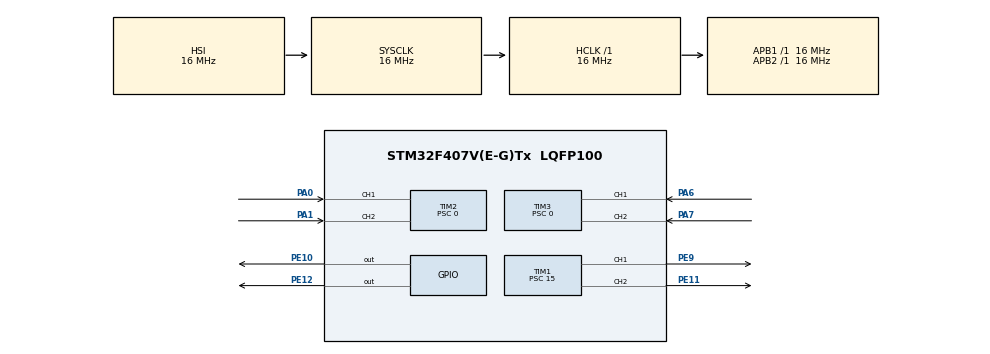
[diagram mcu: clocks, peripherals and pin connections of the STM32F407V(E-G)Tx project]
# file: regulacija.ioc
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Mcu.Family=STM32F4
Mcu.Name=STM32F407V(E-G)Tx
Mcu.Package=LQFP100
NVIC.PriorityGroup=NVIC_PRIORITYGROUP_4
NVIC.TIM4_IRQn=true\:0\:0\:false\:false\:true\:true
PA0-WKUP.GPIO_PuPd=GPIO_PULLUP
PA0-WKUP.Signal=S_TIM2_CH1_ETR
PA1.GPIO_PuPd=GPIO_PULLUP
PA1.Signal=S_TIM2_CH2
PA6.GPIO_PuPd=GPIO_PULLUP
PA6.Signal=S_TIM3_CH1
PA7.GPIO_PuPd=GPIO_PULLUP
PA7.Signal=S_TIM3_CH2
PE10.Signal=GPIO_Output
PE11.GPIO_PuPd=GPIO_NOPULL
PE11.Signal=S_TIM1_CH2
PE12.Signal=GPIO_Output
PE9.GPIO_PuPd=GPIO_NOPULL
PE9.Signal=S_TIM1_CH1
ProjectManager.HeapSize=0x200
ProjectManager.StackSize=0x400
ProjectManager.TargetToolchain=MDK-ARM V5
RCC.AHBFreq_Value=16000000
RCC.APB1Freq_Value=16000000
RCC.APB2Freq_Value=16000000
RCC.CortexFreq_Value=16000000
RCC.HSE_VALUE=25000000
RCC.HSI_VALUE=16000000
RCC.LSE_VALUE=32768
RCC.SYSCLKFreq_VALUE=16000000
RCC.VCOOutputFreq_Value=192000000
SH.S_TIM1_CH1.0=TIM1_CH1,PWM Generation1 CH1
SH.S_TIM1_CH2.0=TIM1_CH2,PWM Generation2 CH2
SH.S_TIM2_CH1_ETR.0=TIM2_CH1,Encoder_Interface
SH.S_TIM2_CH2.0=TIM2_CH2,Encoder_Interface
SH.S_TIM3_CH1.0=TIM3_CH1,Encoder_Interface
SH.S_TIM3_CH2.0=TIM3_CH2,Encoder_Interface
TIM1.Channel-PWM\ Generation1\ CH1=TIM_CHANNEL_1
TIM1.Channel-PWM\ Generation2\ CH2=TIM_CHANNEL_2
TIM1.Period=100
TIM1.Prescaler=15
TIM2.EncoderMode=TIM_ENCODERMODE_TI12
TIM2.IC1Filter=15
TIM2.IC2Filter=15
TIM2.Period=2400
TIM2.Prescaler=0
TIM3.EncoderMode=TIM_ENCODERMODE_TI12
TIM3.IC1Filter=15
TIM3.IC2Filter=15
TIM3.Period=2400
TIM3.Prescaler=0
TIM4.Period=1000
TIM4.Prescaler=15
TIM4.TIM_MasterOutputTrigger=TIM_TRGO_UPDATE
VP_TIM1_VS_ClockSourceINT.Mode=Internal
VP_TIM4_VS_ClockSourceINT.Mode=Internal
board=regulacija

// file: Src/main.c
/**
  ******************************************************************************
  * File Name          : main.c
  * Description        : Main program body
  ******************************************************************************
  ** This notice applies to any and all portions of this file
  * that are not between comment pairs USER CODE BEGIN and
  * USER CODE END. Other portions of this file, whether
  * inserted by the user or by software development tools
  * are owned by their respective copyright owners.
  *
  * COPYRIGHT(c) 2018 STMicroelectronics
  *
  * Redistribution and use in source and binary forms, with or without modification,
  * are permitted provided that the following conditions are met:
  *   1. Redistributions of source code must retain the above copyright notice,
  *      this list of conditions and the following disclaimer.
  *   2. Redistributions in binary form must reproduce the above copyright notice,
  *      this list of conditions and the following disclaimer in the documentation
  *      and/or other materials provided with the distribution.
  *   3. Neither the name of STMicroelectronics nor the names of its contributors
  *      may be used to endorse or promote products derived from this software
  *      without specific prior written permission.
  *
  * THIS SOFTWARE IS PROVIDED BY THE COPYRIGHT HOLDERS AND CONTRIBUTORS "AS IS"
  * AND ANY EXPRESS OR IMPLIED WARRANTIES, INCLUDING, BUT NOT LIMITED TO, THE
  * IMPLIED WARRANTIES OF MERCHANTABILITY AND FITNESS FOR A PARTICULAR PURPOSE ARE
  * DISCLAIMED. IN NO EVENT SHALL THE COPYRIGHT HOLDER OR CONTRIBUTORS BE LIABLE
  * FOR ANY DIRECT, INDIRECT, INCIDENTAL, SPECIAL, EXEMPLARY, OR CONSEQUENTIAL
  * DAMAGES (INCLUDING, BUT NOT LIMITED TO, PROCUREMENT OF SUBSTITUTE GOODS OR
  * SERVICES; LOSS OF USE, DATA, OR PROFITS; OR BUSINESS INTERRUPTION) HOWEVER
  * CAUSED AND ON ANY THEORY OF LIABILITY, WHETHER IN CONTRACT, STRICT LIABILITY,
  * OR TORT (INCLUDING NEGLIGENCE OR OTHERWISE) ARISING IN ANY WAY OUT OF THE USE
  * OF THIS SOFTWARE, EVEN IF ADVISED OF THE POSSIBILITY OF SUCH DAMAGE.
  *
  ******************************************************************************
  */
#include "main.h"
#include "stm32f4xx_hal.h"
#include <stdlib.h>
#include "regulator.h"
#include "parametri.h"

TIM_HandleTypeDef htim1;
TIM_HandleTypeDef htim2;
TIM_HandleTypeDef htim3;
TIM_HandleTypeDef htim4;

/* USER CODE BEGIN PV */
/* Private variables ---------------------------------------------------------*/

/* USER CODE END PV */

void SystemClock_Config(void);
static void MX_GPIO_Init(void);
static void MX_TIM1_Init(void);
static void MX_TIM2_Init(void);
static void MX_TIM3_Init(void);
static void MX_TIM4_Init(void);
void HAL_TIM_MspPostInit(TIM_HandleTypeDef *htim);

/* USER CODE BEGIN PFP */
/* Private function prototypes -----------------------------------------------*/

/* USER CODE END PFP */

/* USER CODE BEGIN 0 */
int dutyCycle1, dutyCycle2;
double deg1, deg2, ref1, ref2, err1, err2, pitch_int, yaw_int, anti_windup_pitch, anti_windup_yaw;
double	u_int1, u_int2, u_p1, u_p2, u_pff, u_pitch, u_yaw;
//(k), (k-1), (k-2)
double speed_pitch[3] = {0.0, 0.0, 0.0};
double speed_yaw[3] = {0.0, 0.0, 0.0};
//(k-1), (k-2)
double pitch[2] = {0.0, 0.0};
double yaw[2] = {0.0, 0.0};
double test[3] = {1.0, 2.0, 3.0};
/* USER CODE END 0 */

int main(void)
{

  /* USER CODE BEGIN 1 */
	/* PWM inicijalizacija */
	ref1 = 0.0;
	ref2 = 0.0;

	pitch_int = 0.0;
	yaw_int = 0.0;
	anti_windup_pitch = 0.0;
	anti_windup_yaw = 0.0;
  /* USER CODE END 1 */

  /* MCU Configuration----------------------------------------------------------*/

  /* Reset of all peripherals, Initializes the Flash interface and the Systick. */
  HAL_Init();

  /* Configure the system clock */
  SystemClock_Config();

  /* Initialize all configured peripherals */
  MX_GPIO_Init();
  MX_TIM1_Init();
  MX_TIM2_Init();
  MX_TIM3_Init();
  MX_TIM4_Init();

  /* USER CODE BEGIN 2 */
	HAL_GPIO_WritePin(GPIOE,GPIO_PIN_10,(GPIO_PinState)0);
	HAL_GPIO_WritePin(GPIOE,GPIO_PIN_12,(GPIO_PinState)0);
	/* PWM timer start */
	HAL_TIM_PWM_Start(&htim1, TIM_CHANNEL_1);
	HAL_TIM_PWM_Start(&htim1, TIM_CHANNEL_2);
	/* Encoder timer start */
	HAL_TIM_Encoder_Start(&htim2,TIM_CHANNEL_ALL);
	HAL_TIM_Encoder_Start(&htim3,TIM_CHANNEL_ALL);
	/* Start main loop */
	HAL_TIM_Base_Start_IT(&htim4);
  /* USER CODE END 2 */

  /* Infinite loop */
  while (1)
  {

  }

}

/** System Clock Configuration
*/
void SystemClock_Config(void)
{

  RCC_OscInitTypeDef RCC_OscInitStruct;
  RCC_ClkInitTypeDef RCC_ClkInitStruct;

    /**Configure the main internal regulator output voltage
    */
  __HAL_RCC_PWR_CLK_ENABLE();

  __HAL_PWR_VOLTAGESCALING_CONFIG(PWR_REGULATOR_VOLTAGE_SCALE1);

    /**Initializes the CPU, AHB and APB busses clocks
    */
  RCC_OscInitStruct.OscillatorType = RCC_OSCILLATORTYPE_HSI;
  RCC_OscInitStruct.HSIState = RCC_HSI_ON;
  RCC_OscInitStruct.HSICalibrationValue = 16;
  RCC_OscInitStruct.PLL.PLLState = RCC_PLL_NONE;
  if (HAL_RCC_OscConfig(&RCC_OscInitStruct) != HAL_OK)
  {
    _Error_Handler(__FILE__, __LINE__);
  }

    /**Initializes the CPU, AHB and APB busses clocks
    */
  RCC_ClkInitStruct.ClockType = RCC_CLOCKTYPE_HCLK|RCC_CLOCKTYPE_SYSCLK
                              |RCC_CLOCKTYPE_PCLK1|RCC_CLOCKTYPE_PCLK2;
  RCC_ClkInitStruct.SYSCLKSource = RCC_SYSCLKSOURCE_HSI;
  RCC_ClkInitStruct.AHBCLKDivider = RCC_SYSCLK_DIV1;
  RCC_ClkInitStruct.APB1CLKDivider = RCC_HCLK_DIV1;
  RCC_ClkInitStruct.APB2CLKDivider = RCC_HCLK_DIV1;

  if (HAL_RCC_ClockConfig(&RCC_ClkInitStruct, FLASH_LATENCY_0) != HAL_OK)
  {
    _Error_Handler(__FILE__, __LINE__);
  }

    /**Configure the Systick interrupt time
    */
  HAL_SYSTICK_Config(HAL_RCC_GetHCLKFreq()/1000);

    /**Configure the Systick
    */
  HAL_SYSTICK_CLKSourceConfig(SYSTICK_CLKSOURCE_HCLK);

  /* SysTick_IRQn interrupt configuration */
  HAL_NVIC_SetPriority(SysTick_IRQn, 0, 0);
}

/* TIM1 init function */
static void MX_TIM1_Init(void)
{

  TIM_ClockConfigTypeDef sClockSourceConfig;
  TIM_MasterConfigTypeDef sMasterConfig;
  TIM_OC_InitTypeDef sConfigOC;
  TIM_BreakDeadTimeConfigTypeDef sBreakDeadTimeConfig;

  htim1.Instance = TIM1;
  htim1.Init.Prescaler = 15;
  htim1.Init.CounterMode = TIM_COUNTERMODE_UP;
  htim1.Init.Period = 100;
  htim1.Init.ClockDivision = TIM_CLOCKDIVISION_DIV1;
  htim1.Init.RepetitionCounter = 0;
  if (HAL_TIM_Base_Init(&htim1) != HAL_OK)
  {
    _Error_Handler(__FILE__, __LINE__);
  }

  sClockSourceConfig.ClockSource = TIM_CLOCKSOURCE_INTERNAL;
  if (HAL_TIM_ConfigClockSource(&htim1, &sClockSourceConfig) != HAL_OK)
  {
    _Error_Handler(__FILE__, __LINE__);
  }

  if (HAL_TIM_PWM_Init(&htim1) != HAL_OK)
  {
    _Error_Handler(__FILE__, __LINE__);
  }

  sMasterConfig.MasterOutputTrigger = TIM_TRGO_RESET;
  sMasterConfig.MasterSlaveMode = TIM_MASTERSLAVEMODE_DISABLE;
  if (HAL_TIMEx_MasterConfigSynchronization(&htim1, &sMasterConfig) != HAL_OK)
  {
    _Error_Handler(__FILE__, __LINE__);
  }

  sConfigOC.OCMode = TIM_OCMODE_PWM1;
  sConfigOC.Pulse = 0;
  sConfigOC.OCPolarity = TIM_OCPOLARITY_HIGH;
  sConfigOC.OCNPolarity = TIM_OCNPOLARITY_HIGH;
  sConfigOC.OCFastMode = TIM_OCFAST_DISABLE;
  sConfigOC.OCIdleState = TIM_OCIDLESTATE_RESET;
  sConfigOC.OCNIdleState = TIM_OCNIDLESTATE_RESET;
  if (HAL_TIM_PWM_ConfigChannel(&htim1, &sConfigOC, TIM_CHANNEL_1) != HAL_OK)
  {
    _Error_Handler(__FILE__, __LINE__);
  }

  if (HAL_TIM_PWM_ConfigChannel(&htim1, &sConfigOC, TIM_CHANNEL_2) != HAL_OK)
  {
    _Error_Handler(__FILE__, __LINE__);
  }

  sBreakDeadTimeConfig.OffStateRunMode = TIM_OSSR_DISABLE;
  sBreakDeadTimeConfig.OffStateIDLEMode = TIM_OSSI_DISABLE;
  sBreakDeadTimeConfig.LockLevel = TIM_LOCKLEVEL_OFF;
  sBreakDeadTimeConfig.DeadTime = 0;
  sBreakDeadTimeConfig.BreakState = TIM_BREAK_DISABLE;
  sBreakDeadTimeConfig.BreakPolarity = TIM_BREAKPOLARITY_HIGH;
  sBreakDeadTimeConfig.AutomaticOutput = TIM_AUTOMATICOUTPUT_DISABLE;
  if (HAL_TIMEx_ConfigBreakDeadTime(&htim1, &sBreakDeadTimeConfig) != HAL_OK)
  {
    _Error_Handler(__FILE__, __LINE__);
  }

  HAL_TIM_MspPostInit(&htim1);

}

/* TIM2 init function */
static void MX_TIM2_Init(void)
{

  TIM_Encoder_InitTypeDef sConfig;
  TIM_MasterConfigTypeDef sMasterConfig;

  htim2.Instance = TIM2;
  htim2.Init.Prescaler = 0;
  htim2.Init.CounterMode = TIM_COUNTERMODE_UP;
  htim2.Init.Period = 2400;
  htim2.Init.ClockDivision = TIM_CLOCKDIVISION_DIV1;
  sConfig.EncoderMode = TIM_ENCODERMODE_TI12;
  sConfig.IC1Polarity = TIM_ICPOLARITY_RISING;
  sConfig.IC1Selection = TIM_ICSELECTION_DIRECTTI;
  sConfig.IC1Prescaler = TIM_ICPSC_DIV1;
  sConfig.IC1Filter = 15;
  sConfig.IC2Polarity = TIM_ICPOLARITY_RISING;
  sConfig.IC2Selection = TIM_ICSELECTION_DIRECTTI;
  sConfig.IC2Prescaler = TIM_ICPSC_DIV1;
  sConfig.IC2Filter = 15;
  if (HAL_TIM_Encoder_Init(&htim2, &sConfig) != HAL_OK)
  {
    _Error_Handler(__FILE__, __LINE__);
  }

  sMasterConfig.MasterOutputTrigger = TIM_TRGO_RESET;
  sMasterConfig.MasterSlaveMode = TIM_MASTERSLAVEMODE_DISABLE;
  if (HAL_TIMEx_MasterConfigSynchronization(&htim2, &sMasterConfig) != HAL_OK)
  {
    _Error_Handler(__FILE__, __LINE__);
  }

}

/* TIM3 init function */
static void MX_TIM3_Init(void)
{

  TIM_Encoder_InitTypeDef sConfig;
  TIM_MasterConfigTypeDef sMasterConfig;

  htim3.Instance = TIM3;
  htim3.Init.Prescaler = 0;
  htim3.Init.CounterMode = TIM_COUNTERMODE_UP;
  htim3.Init.Period = 2400;
  htim3.Init.ClockDivision = TIM_CLOCKDIVISION_DIV1;
  sConfig.EncoderMode = TIM_ENCODERMODE_TI12;
  sConfig.IC1Polarity = TIM_ICPOLARITY_RISING;
  sConfig.IC1Selection = TIM_ICSELECTION_DIRECTTI;
  sConfig.IC1Prescaler = TIM_ICPSC_DIV1;
  sConfig.IC1Filter = 15;
  sConfig.IC2Polarity = TIM_ICPOLARITY_RISING;
  sConfig.IC2Selection = TIM_ICSELECTION_DIRECTTI;
  sConfig.IC2Prescaler = TIM_ICPSC_DIV1;
  sConfig.IC2Filter = 15;
  if (HAL_TIM_Encoder_Init(&htim3, &sConfig) != HAL_OK)
  {
    _Error_Handler(__FILE__, __LINE__);
  }

  sMasterConfig.MasterOutputTrigger = TIM_TRGO_RESET;
  sMasterConfig.MasterSlaveMode = TIM_MASTERSLAVEMODE_DISABLE;
  if (HAL_TIMEx_MasterConfigSynchronization(&htim3, &sMasterConfig) != HAL_OK)
  {
    _Error_Handler(__FILE__, __LINE__);
  }

}

/* TIM4 init function */
static void MX_TIM4_Init(void)
{

  TIM_ClockConfigTypeDef sClockSourceConfig;
  TIM_MasterConfigTypeDef sMasterConfig;

  htim4.Instance = TIM4;
  htim4.Init.Prescaler = 15;
  htim4.Init.CounterMode = TIM_COUNTERMODE_UP;
  htim4.Init.Period = 1000;
  htim4.Init.ClockDivision = TIM_CLOCKDIVISION_DIV1;
  if (HAL_TIM_Base_Init(&htim4) != HAL_OK)
  {
    _Error_Handler(__FILE__, __LINE__);
  }

  sClockSourceConfig.ClockSource = TIM_CLOCKSOURCE_INTERNAL;
  if (HAL_TIM_ConfigClockSource(&htim4, &sClockSourceConfig) != HAL_OK)
  {
    _Error_Handler(__FILE__, __LINE__);
  }

  sMasterConfig.MasterOutputTrigger = TIM_TRGO_UPDATE;
  sMasterConfig.MasterSlaveMode = TIM_MASTERSLAVEMODE_DISABLE;
  if (HAL_TIMEx_MasterConfigSynchronization(&htim4, &sMasterConfig) != HAL_OK)
  {
    _Error_Handler(__FILE__, __LINE__);
  }

}

/** Configure pins as
        * Analog
        * Input
        * Output
        * EVENT_OUT
        * EXTI
*/
static void MX_GPIO_Init(void)
{

  GPIO_InitTypeDef GPIO_InitStruct;

  /* GPIO Ports Clock Enable */
  __HAL_RCC_GPIOA_CLK_ENABLE();
  __HAL_RCC_GPIOE_CLK_ENABLE();

  /*Configure GPIO pin Output Level */
  HAL_GPIO_WritePin(GPIOE, GPIO_PIN_10|GPIO_PIN_12, GPIO_PIN_RESET);

  /*Configure GPIO pins : PE10 PE12 */
  GPIO_InitStruct.Pin = GPIO_PIN_10|GPIO_PIN_12;
  GPIO_InitStruct.Mode = GPIO_MODE_OUTPUT_PP;
  GPIO_InitStruct.Pull = GPIO_NOPULL;
  GPIO_InitStruct.Speed = GPIO_SPEED_FREQ_LOW;
  HAL_GPIO_Init(GPIOE, &GPIO_InitStruct);

}

/* USER CODE BEGIN 4 */
void HAL_TIM_PeriodElapsedCallback(TIM_HandleTypeDef *htim)
{
  /* Prevent unused argument(s) compilation warning */
  UNUSED(htim);
  /* NOTE : This function Should not be modified, when the callback is needed,
            the __HAL_TIM_PeriodElapsedCallback could be implemented in the user file
   */
	deg1 = Get_Encoder_Pos(&htim3);
	deg2 = - Get_Encoder_Pos(&htim2);

	Set_Pose(pitch, deg1, bias);
	Set_Pose(yaw, deg2, 0.0);

	err1 = ref1 - *pitch;
	err2 = ref2 - deg2;

	u_int1 = integral_control(err1, err2, &pitch_int, &anti_windup_pitch, 0);
	//u_int2 = integral_control(err1, err2, &yaw_int, &anti_windup_yaw, 1);

	proporcional(err1, err2, *speed_pitch, *speed_yaw, &u_p1, &u_p2);

	u_pff = feed_forward(*pitch);

	u_pitch = u_int1 + u_p1 + u_pff;
	//u_yaw = u_int2 + u_p2;
	//u_pitch = u_p1 + u_pff;
	//Set_Speed(1, 3.5, &htim1);
	Set_Speed(2, 3.5, &htim1);

	Get_Speed(speed_pitch, pitch);
	//Get_Speed(speed_yaw, yaw);

	return;
}
/* USER CODE END 4 */

void _Error_Handler(char * file, int line)
{
  while(1)
  {
  }
}

/************************ (C) COPYRIGHT STMicroelectronics *****END OF FILE****/
